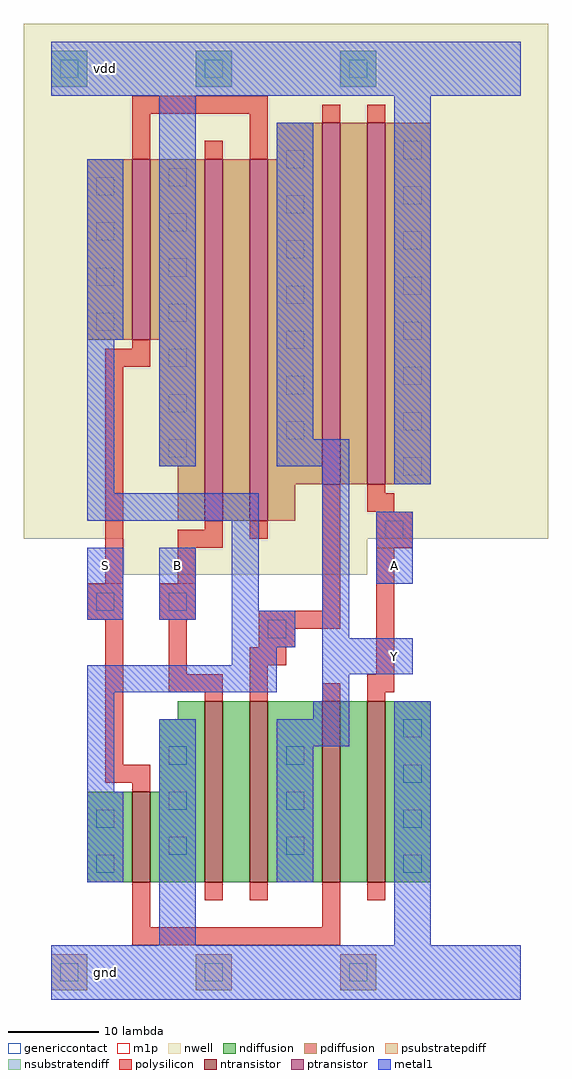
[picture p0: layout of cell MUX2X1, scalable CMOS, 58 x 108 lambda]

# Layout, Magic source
magic
tech scmos
<< nwell >>
rect -5 48 53 105
rect 6 44 33 48
<< ntransistor >>
rect 7 10 9 20
rect 15 10 17 30
rect 20 10 22 30
rect 28 10 30 30
rect 33 10 35 30
<< ptransistor >>
rect 7 70 9 90
rect 15 50 17 90
rect 20 50 22 90
rect 28 54 30 94
rect 33 54 35 94
<< ndiffusion >>
rect 12 28 15 30
rect 10 20 15 28
rect 2 10 7 20
rect 9 10 15 20
rect 17 10 20 30
rect 22 10 28 30
rect 30 10 33 30
rect 35 10 40 30
<< pdiffusion >>
rect 23 90 28 94
rect 2 70 7 90
rect 9 70 15 90
rect 10 56 15 70
rect 12 50 15 56
rect 17 50 20 90
rect 22 54 28 90
rect 30 54 33 94
rect 35 54 40 94
rect 22 50 25 54
<< psubstratepdiff >>
rect -2 -2 2 2
rect 14 -2 18 2
rect 30 -2 34 2
<< nsubstratendiff >>
rect -2 98 2 102
rect 14 98 18 102
rect 30 98 34 102
<< polysilicon >>
rect 7 95 22 97
rect 7 90 9 95
rect 15 90 17 92
rect 20 90 22 95
rect 28 94 30 96
rect 33 94 35 96
rect 7 69 9 70
rect 4 67 9 69
rect 4 43 6 67
rect 15 49 17 50
rect 12 47 17 49
rect 20 48 22 50
rect 12 43 14 47
rect 2 39 6 43
rect 10 39 14 43
rect 28 40 30 54
rect 33 53 35 54
rect 33 51 36 53
rect 4 23 6 39
rect 11 33 13 39
rect 21 38 30 40
rect 34 47 38 51
rect 21 36 25 38
rect 20 34 24 36
rect 11 31 17 33
rect 15 30 17 31
rect 20 30 22 34
rect 34 33 36 47
rect 28 30 30 32
rect 33 31 36 33
rect 33 30 35 31
rect 4 21 9 23
rect 7 20 9 21
rect 7 5 9 10
rect 15 8 17 10
rect 20 8 22 10
rect 28 5 30 10
rect 33 8 35 10
rect 7 3 30 5
<< genericcontact >>
rect -1 99 1 101
rect 15 99 17 101
rect 31 99 33 101
rect 24 89 26 91
rect 37 90 39 92
rect 3 86 5 88
rect 11 87 13 89
rect 24 84 26 86
rect 37 85 39 87
rect 3 81 5 83
rect 11 82 13 84
rect 24 79 26 81
rect 37 80 39 82
rect 3 76 5 78
rect 11 77 13 79
rect 24 74 26 76
rect 37 75 39 77
rect 3 71 5 73
rect 11 72 13 74
rect 24 69 26 71
rect 37 70 39 72
rect 11 67 13 69
rect 24 64 26 66
rect 37 65 39 67
rect 11 62 13 64
rect 24 59 26 61
rect 37 60 39 62
rect 11 57 13 59
rect 37 55 39 57
rect 35 48 37 50
rect 3 40 5 42
rect 11 40 13 42
rect 22 37 24 39
rect 37 26 39 28
rect 11 23 13 25
rect 24 23 26 25
rect 37 21 39 23
rect 11 18 13 20
rect 24 18 26 20
rect 3 16 5 18
rect 37 16 39 18
rect 11 13 13 15
rect 24 13 26 15
rect 3 11 5 13
rect 37 11 39 13
rect -1 -1 1 1
rect 15 -1 17 1
rect 31 -1 33 1
<< metal1 >>
rect -2 97 50 103
rect 2 70 6 90
rect 2 53 5 70
rect 10 56 14 97
rect 23 59 27 94
rect 23 56 31 59
rect 2 50 21 53
rect 2 39 6 47
rect 10 39 14 47
rect 18 40 21 50
rect 18 36 25 40
rect 28 37 31 56
rect 36 54 40 97
rect 34 43 38 51
rect 18 34 23 36
rect 2 31 23 34
rect 28 33 38 37
rect 2 20 5 31
rect 28 30 31 33
rect 27 28 31 30
rect 2 10 6 20
rect 10 3 14 28
rect 23 25 31 28
rect 23 10 27 25
rect 36 3 40 30
rect -2 -3 50 3
<< m1p >>
rect 2 43 6 47
rect 10 43 14 47
rect 34 43 38 47
rect 34 33 38 37
<< labels >>
rlabel metal1 4 45 4 45 6 S
rlabel metal1 4 100 4 100 6 vdd
rlabel metal1 4 0 4 0 8 gnd
rlabel metal1 36 35 36 35 6 Y
rlabel metal1 36 45 36 45 6 A
rlabel metal1 12 45 12 45 6 B
<< end >>
